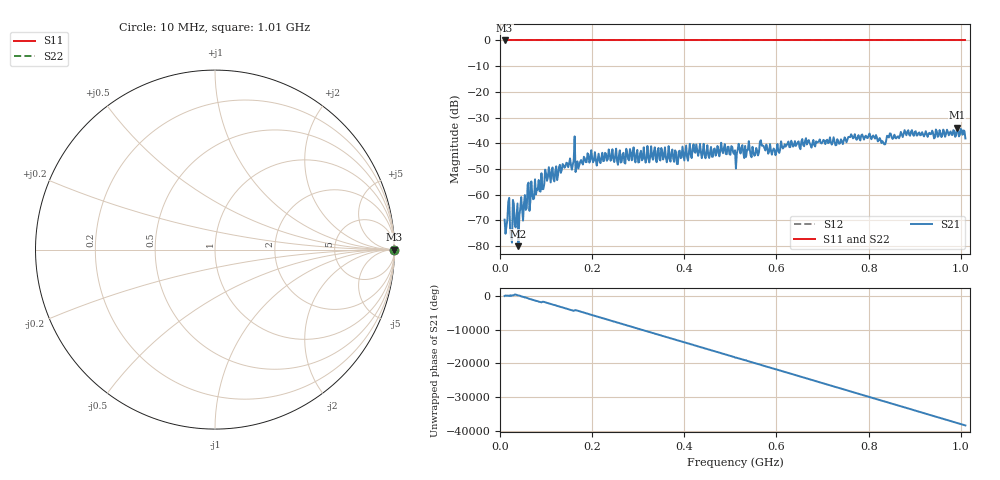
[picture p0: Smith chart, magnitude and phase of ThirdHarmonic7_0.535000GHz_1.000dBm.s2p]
! 8/17/2025 3:58:52 PM
! C:\ANRITSUVNA\TEMP\TEMP.S2P
! CHANNEL.1
! TR.MEASUREMENT
! RAW.DATA
! RF.CORRECTION.OFF
! AVERAGING.OFF
! IF.BANDWIDTH: 5KHZ
! SWEEPTYPE:  FREQ.SWEEP(Linear)
! Reference Plane Port Info
! PORT:  PORT1  PORT2
! DISTANCE:  0  m  0  m
! TIME:  0  s  0  s
! PHASE.OFFSET:  0  deg.  0  deg.
! LOSS:  0  dB  0  dB
! REF.LOSS:  0  dB  0  dB
! REF.FREQ:  0  Hz  0  Hz
! Power Info
! POWER:  -20  dBm  -20  dBm
! EFF.POWER:  -20  dBm  -20  dBm
! SOURCE.ATTEN:  0  dB  0  dB
! TEST.ATTEN:  0  dB  0  dB
# GHZ S RI R 50.0
! FREQ.GHZ  S11RE  S11IM  S21RE  S21IM  S12RE  S12IM  S22RE  S22IM
!; PortSelection: Port_12
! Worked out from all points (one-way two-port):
!   501 points, 10 MHz to 1.01 GHz, reference 50 ohm
!   highest |S21| = -33.93 dB at 992 MHz (marker M1); lowest = -80.0 dB at 40 MHz (marker M2)
!   lowest |S11| = 0.0 dB at 10 MHz (marker M3)
!   |S11| at or under -10 dB: nowhere
!   |S22| runs from 0.0 to 0.0 dB; largest |S21 - S12| = 1
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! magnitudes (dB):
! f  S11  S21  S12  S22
! 10 MHz  0.0  -69.7  0.0  0.0
! 18 MHz  0.0  -62.7  0.0  0.0
! 26 MHz  0.0  -78.7  0.0  0.0
! 40 MHz  0.0  -80.0  0.0  0.0
! 54 MHz  0.0  -60.2  0.0  0.0
! 58 MHz  0.0  -65.2  0.0  0.0
! 90 MHz  0.0  -51.6  0.0  0.0
! 102 MHz  0.0  -54.6  0.0  0.0
! 178 MHz  0.0  -47.7  0.0  0.0
! 344 MHz  0.0  -41.8  0.0  0.0
! 484 MHz  0.0  -43.9  0.0  0.0
! 510 MHz  0.0  -42.7  0.0  0.0
! 522 MHz  0.0  -44.0  0.0  0.0
! 556 MHz  0.0  -41.8  0.0  0.0
! 568 MHz  0.0  -40.9  0.0  0.0
! 594 MHz  0.0  -42.0  0.0  0.0
! 678 MHz  0.0  -40.0  0.0  0.0
! 766 MHz  0.0  -38.1  0.0  0.0
! 832 MHz  0.0  -39.8  0.0  0.0
! 844 MHz  0.0  -37.7  0.0  0.0
! 992 MHz  0.0  -33.9  0.0  0.0
! 1.01 GHz  0.0  -38.1  0.0  0.0
